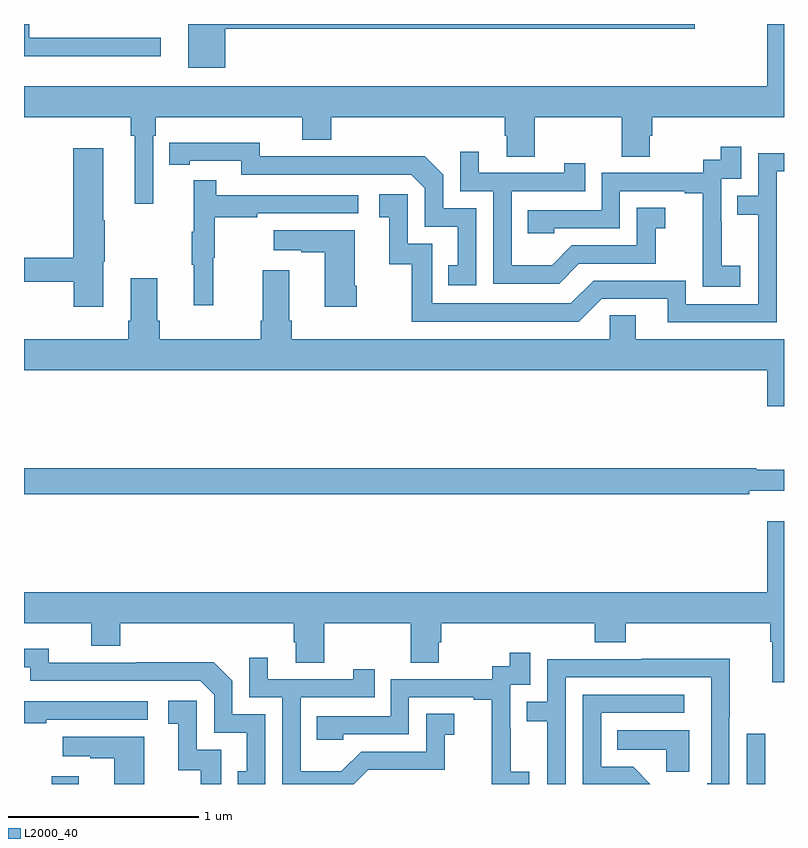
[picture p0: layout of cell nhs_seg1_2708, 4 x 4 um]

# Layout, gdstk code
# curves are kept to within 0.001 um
import gdstk
lib = gdstk.Library(unit=1e-6, precision=1e-09)
def R(c, l, rs):  # rectangles x0, y0, x1, y1
    for r in rs: c.add(gdstk.rectangle(r[:2], r[2:], *l))
def P(c, l, *ps):  # polygons
    for p in ps: c.add(gdstk.Polygon(p, *l))
L2000_40 = (2000, 40)

nhs_seg1_2708 = lib.new_cell('nhs_seg1_2708')
R(nhs_seg1_2708, L2000_40, [(257.147,572.199,257.287,572.239), (260.805,572.199,260.901,572.464)])
P(nhs_seg1_2708, L2000_40, [(258.058,576.174),(260.531,576.174),(260.531,576.199),(257.864,576.199),(257.864,575.969),(258.058,575.969)],
  [(257.679,575.612),(257.693,575.612),(257.693,575.708),(258.464,575.708),(258.464,575.591),(258.617,575.591),(258.617,575.708),(259.529,575.708),(259.529,575.61),(259.541,575.61),(259.541,575.5),(259.689,575.5),(259.689,575.708),(260.146,575.708),(260.146,575.5),(260.293,575.5),(260.293,575.61),(260.306,575.61),(260.306,575.708),(261,575.708),(261,576.199),(260.912,576.199),(260.912,575.872),(257,575.872),(257,575.708),(257.563,575.708),(257.563,575.612),(257.582,575.612),(257.582,575.253),(257.679,575.253)],
  [(257.719,576.126),(257.028,576.126),(257.028,576.199),(257,576.199),(257,576.029),(257.719,576.029)],
  [(259.38,575.229),(259.206,575.229),(259.206,575.406),(259.108,575.504),(258.7,575.504),(258.7,575.502),(258.24,575.502),(258.24,575.575),(257.764,575.574),(257.764,575.458),(257.872,575.458),(257.872,575.478),(258.144,575.478),(258.144,575.406),(259.038,575.406),(259.11,575.334),(259.11,575.133),(259.283,575.133),(259.283,574.929),(259.234,574.929),(259.234,574.824),(259.38,574.824)],
  [(260.77,574.927),(260.672,574.927),(260.672,575.156),(260.67,575.156),(260.67,575.385),(260.775,575.385),(260.775,575.554),(260.666,575.554),(260.666,575.484),(260.574,575.484),(260.574,575.415),(260.04,575.415),(260.04,575.22),(259.651,575.22),(259.651,575.097),(259.791,575.097),(259.791,575.124),(260.136,575.124),(260.136,575.319),(260.477,575.319),(260.477,575.307),(260.573,575.307),(260.573,575.023),(260.572,575.023),(260.572,574.817),(260.77,574.817)],
  [(257.416,574.947),(257.424,574.947),(257.424,575.165),(257.416,575.165),(257.416,575.545),(257.258,575.545),(257.258,574.97),(257,574.97),(257,574.842),(257.263,574.842),(257.263,574.71),(257.416,574.71)],
  [(259.921,574.938),(260.325,574.938),(260.325,575.123),(260.374,575.123),(260.374,575.233),(260.226,575.233),(260.226,575.034),(259.884,575.034),(259.78,574.93),(259.566,574.93),(259.566,575.319),(259.955,575.319),(259.955,575.467),(259.844,575.467),(259.844,575.415),(259.393,575.415),(259.393,575.527),(259.296,575.527),(259.296,575.319),(259.47,575.319),(259.47,574.833),(259.816,574.833)],
  [(260.961,575.424),(261,575.424),(261,575.52),(260.865,575.52),(260.865,575.295),(260.755,575.295),(260.755,575.194),(260.865,575.194),(260.865,574.725),(260.484,574.725),(260.484,574.848),(259.998,574.848),(259.878,574.728),(259.149,574.728),(259.149,575.043),(259.02,575.043),(259.02,575.302),(258.87,575.302),(258.87,575.181),(258.923,575.181),(258.923,574.935),(259.041,574.935),(259.041,574.632),(259.92,574.632),(260.04,574.752),(260.387,574.752),(260.387,574.629),(260.961,574.629)],
  [(257.996,574.968),(258.004,574.968),(258.004,575.182),(258.227,575.182),(258.227,575.202),(258.76,575.202),(258.76,575.298),(258.011,575.298),(258.011,575.377),(257.894,575.377),(257.894,575.105),(257.883,575.105),(257.883,574.931),(257.894,574.931),(257.894,574.719),(257.996,574.719)],
  [(258.75,574.822),(258.742,574.822),(258.742,575.113),(258.315,575.113),(258.315,575.009),(258.458,575.009),(258.458,574.999),(258.584,574.999),(258.584,574.71),(258.75,574.71)],
  [(261,574.54),(260.221,574.54),(260.221,574.667),(260.082,574.667),(260.082,574.54),(258.41,574.54),(258.41,574.636),(258.397,574.636),(258.397,574.903),(258.257,574.903),(258.257,574.636),(258.245,574.636),(258.245,574.54),(257.714,574.54),(257.714,574.636),(257.701,574.636),(257.701,574.861),(257.561,574.861),(257.561,574.636),(257.549,574.636),(257.549,574.54),(257,574.54),(257,574.376),(260.912,574.376),(260.912,574.188),(261,574.188)],
  [(260.816,573.743),(261,573.743),(261,573.853),(260.855,573.853),(260.855,573.86),(257,573.86),(257,573.724),(260.816,573.724)],
  [(261,573.583),(260.912,573.583),(260.912,573.208),(257,573.208),(257,573.044),(257.354,573.044),(257.354,572.927),(257.507,572.927),(257.507,573.044),(258.419,573.044),(258.419,572.946),(258.431,572.946),(258.431,572.836),(258.579,572.836),(258.579,573.044),(259.036,573.044),(259.036,572.836),(259.183,572.836),(259.183,572.946),(259.196,572.946),(259.196,573.044),(260.003,573.044),(260.003,572.945),(260.168,572.945),(260.168,573.044),(260.927,573.044),(260.927,572.948),(260.939,572.948),(260.939,572.735),(261,572.735)],
  [(258.27,572.565),(258.096,572.565),(258.096,572.742),(257.998,572.84),(257.59,572.84),(257.59,572.838),(257.13,572.838),(257.13,572.911),(257,572.911),(257,572.814),(257.034,572.814),(257.034,572.742),(257.928,572.742),(258,572.67),(258,572.469),(258.173,572.469),(258.173,572.265),(258.124,572.265),(258.124,572.199),(258.27,572.199)],
  [(259.66,572.263),(259.562,572.263),(259.562,572.492),(259.56,572.492),(259.56,572.721),(259.665,572.721),(259.665,572.89),(259.557,572.89),(259.557,572.82),(259.464,572.82),(259.464,572.751),(258.93,572.751),(258.93,572.556),(258.541,572.556),(258.541,572.433),(258.681,572.433),(258.681,572.46),(259.026,572.46),(259.026,572.655),(259.367,572.655),(259.367,572.643),(259.463,572.643),(259.463,572.359),(259.462,572.359),(259.462,572.199),(259.66,572.199)],
  [(258.811,572.274),(259.215,572.274),(259.215,572.459),(259.264,572.459),(259.264,572.569),(259.116,572.569),(259.116,572.37),(258.774,572.37),(258.67,572.266),(258.456,572.266),(258.456,572.655),(258.845,572.655),(258.845,572.803),(258.734,572.803),(258.734,572.751),(258.283,572.751),(258.283,572.863),(258.186,572.863),(258.186,572.655),(258.36,572.655),(258.36,572.199),(258.736,572.199)],
  [(259.851,572.76),(260.616,572.76),(260.616,572.202),(260.597,572.202),(260.597,572.199),(260.712,572.199),(260.712,572.551),(260.715,572.551),(260.715,572.858),(260.251,572.858),(260.251,572.856),(259.755,572.856),(259.755,572.631),(259.645,572.631),(259.645,572.53),(259.755,572.53),(259.755,572.199),(259.851,572.199)],
  [(260.206,572.289),(260.037,572.289),(260.037,572.574),(260.476,572.574),(260.476,572.67),(259.941,572.67),(259.941,572.199),(260.296,572.199)],
  [(258.039,572.379),(257.91,572.379),(257.91,572.638),(257.76,572.638),(257.76,572.517),(257.813,572.517),(257.813,572.271),(257.931,572.271),(257.931,572.199),(258.039,572.199)],
  [(257.117,572.538),(257.65,572.538),(257.65,572.634),(257,572.634),(257,572.518),(257.117,572.518)],
  [(260.5,572.482),(260.122,572.482),(260.122,572.378),(260.379,572.378),(260.379,572.263),(260.5,572.263)],
  [(257.632,572.449),(257.205,572.449),(257.205,572.345),(257.348,572.345),(257.348,572.335),(257.474,572.335),(257.474,572.199),(257.632,572.199)])

lib.write_gds('nhs_seg1_2708.gds')
